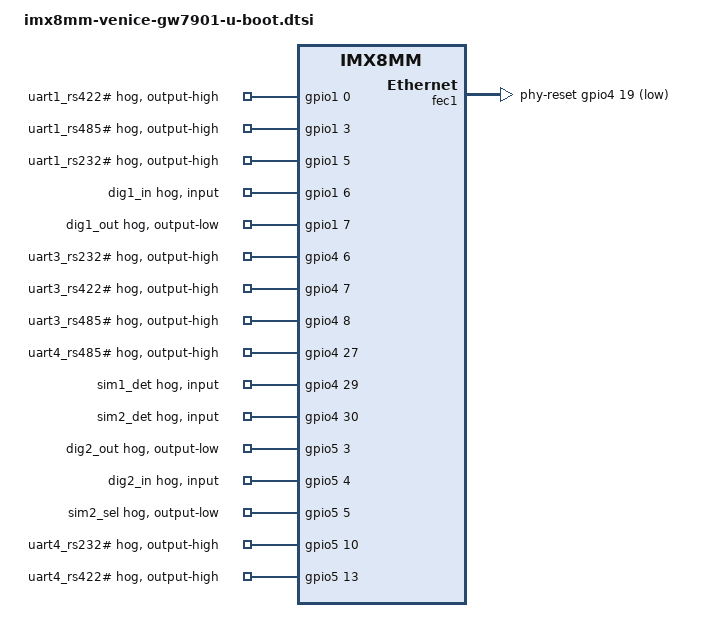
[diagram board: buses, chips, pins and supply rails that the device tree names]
// SPDX-License-Identifier: GPL-2.0+
/*
 * Copyright 2020 Gateworks Corporation
 */

&{/soc@0} {
	u-boot,dm-pre-reloc;
	u-boot,dm-spl;
};

&clk {
	u-boot,dm-spl;
	u-boot,dm-pre-reloc;
	/delete-property/ assigned-clocks;
	/delete-property/ assigned-clock-parents;
	/delete-property/ assigned-clock-rates;
};

&osc_24m {
	u-boot,dm-spl;
	u-boot,dm-pre-reloc;
};

&aips1 {
	u-boot,dm-spl;
	u-boot,dm-pre-reloc;
};

&aips2 {
	u-boot,dm-spl;
};

&aips3 {
	u-boot,dm-spl;
};

&iomuxc {
	u-boot,dm-spl;
};

&gpio1 {
	u-boot,dm-spl;

	uart1_rs422 {
		gpio-hog;
		output-high;
		gpios = <0 GPIO_ACTIVE_HIGH>;
		line-name = "uart1_rs422#";
	};

	uart1rs485 {
		gpio-hog;
		output-high;
		gpios = <3 GPIO_ACTIVE_HIGH>;
		line-name = "uart1_rs485#";
	};

	uart1rs232 {
		gpio-hog;
		output-high;
		gpios = <5 GPIO_ACTIVE_HIGH>;
		line-name = "uart1_rs232#";
	};

	dig1in {
		gpio-hog;
		input;
		gpios = <6 GPIO_ACTIVE_HIGH>;
		line-name = "dig1_in";
	};

	dig1out {
		gpio-hog;
		output-low;
		gpios = <7 GPIO_ACTIVE_HIGH>;
		line-name = "dig1_out";
	};
};

&gpio2 {
	u-boot,dm-spl;
};

&gpio3 {
	u-boot,dm-spl;
};

&gpio4 {
	u-boot,dm-spl;

	uart3_rs232 {
		gpio-hog;
		output-high;
		gpios = <6 GPIO_ACTIVE_HIGH>;
		line-name = "uart3_rs232#";
	};

	uart3_rs422 {
		gpio-hog;
		output-high;
		gpios = <7 GPIO_ACTIVE_HIGH>;
		line-name = "uart3_rs422#";
	};

	uart3_rs485 {
		gpio-hog;
		output-high;
		gpios = <8 GPIO_ACTIVE_HIGH>;
		line-name = "uart3_rs485#";
	};

	uart4_rs485 {
		gpio-hog;
		output-high;
		gpios = <27 GPIO_ACTIVE_HIGH>;
		line-name = "uart4_rs485#";
	};

	sim1det {
		gpio-hog;
		input;
		gpios = <29 GPIO_ACTIVE_HIGH>;
		line-name = "sim1_det";
	};

	sim2det {
		gpio-hog;
		input;
		gpios = <30 GPIO_ACTIVE_HIGH>;
		line-name = "sim2_det";
	};
};

&gpio5 {
	u-boot,dm-spl;

	dig2out {
		gpio-hog;
		output-low;
		gpios = <3 GPIO_ACTIVE_HIGH>;
		line-name = "dig2_out";
	};

	dig2in {
		gpio-hog;
		input;
		gpios = <4 GPIO_ACTIVE_HIGH>;
		line-name = "dig2_in";
	};

	sim2sel {
		gpio-hog;
		output-low;
		gpios = <5 GPIO_ACTIVE_HIGH>;
		line-name = "sim2_sel";
	};

	uart4_rs232 {
		gpio-hog;
		output-high;
		gpios = <10 GPIO_ACTIVE_HIGH>;
		line-name = "uart4_rs232#";
	};

	uart4_rs422 {
		gpio-hog;
		output-high;
		gpios = <13 GPIO_ACTIVE_HIGH>;
		line-name = "uart4_rs422#";
	};
};

&uart2 {
	u-boot,dm-spl;
};

&pinctrl_uart2 {
	u-boot,dm-spl;
};

&usdhc2 {
	u-boot,dm-spl;
};

&pinctrl_usdhc2 {
	u-boot,dm-spl;
};

&usdhc3 {
	u-boot,dm-spl;
};

&pinctrl_usdhc3 {
	u-boot,dm-spl;
};

&i2c1 {
	u-boot,dm-spl;
};

&pinctrl_i2c1 {
	u-boot,dm-spl;
};

&i2c2 {
	u-boot,dm-spl;
};

&pinctrl_i2c2 {
	u-boot,dm-spl;
};

&fec1 {
	phy-reset-gpios = <&gpio4 19 GPIO_ACTIVE_LOW>;
	phy-reset-duration = <1>;
	phy-reset-post-delay = <1>;
};

&{/soc@0/bus@30800000/i2c@30a30000/pmic@4b} {
	u-boot,dm-spl;
};

&{/soc@0/bus@30800000/i2c@30a30000/pmic@4b/regulators} {
	u-boot,dm-spl;
};

&pinctrl_pmic {
	u-boot,dm-spl;
};

